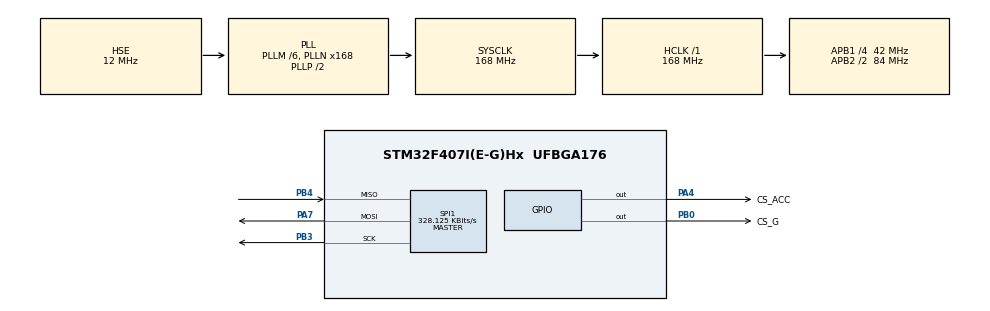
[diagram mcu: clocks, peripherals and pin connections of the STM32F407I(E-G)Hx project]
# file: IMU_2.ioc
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Mcu.Family=STM32F4
Mcu.Name=STM32F407I(E-G)Hx
Mcu.Package=UFBGA176
NVIC.PriorityGroup=NVIC_PRIORITYGROUP_4
PA13.Mode=Serial_Wire
PA13.Signal=SYS_JTMS-SWDIO
PA14.Mode=Serial_Wire
PA14.Signal=SYS_JTCK-SWCLK
PA4.GPIO_Label=CS_ACC
PA4.Signal=GPIO_Output
PA7.Mode=Full_Duplex_Master
PA7.Signal=SPI1_MOSI
PB0.GPIO_Label=CS_G
PB0.Signal=GPIO_Output
PB3.Mode=Full_Duplex_Master
PB3.Signal=SPI1_SCK
PB4.Mode=Full_Duplex_Master
PB4.Signal=SPI1_MISO
PH0-OSC_IN.Mode=HSE-External-Oscillator
PH0-OSC_IN.Signal=RCC_OSC_IN
PH1-OSC_OUT.Mode=HSE-External-Oscillator
PH1-OSC_OUT.Signal=RCC_OSC_OUT
ProjectManager.HeapSize=0x200
ProjectManager.StackSize=0x400
ProjectManager.TargetToolchain=MDK-ARM V5.32
RCC.48MHZClocksFreq_Value=84000000
RCC.AHBFreq_Value=168000000
RCC.APB1CLKDivider=RCC_HCLK_DIV4
RCC.APB1Freq_Value=42000000
RCC.APB1TimFreq_Value=84000000
RCC.APB2CLKDivider=RCC_HCLK_DIV2
RCC.APB2Freq_Value=84000000
RCC.APB2TimFreq_Value=168000000
RCC.CortexFreq_Value=168000000
RCC.HCLKFreq_Value=168000000
RCC.HSE_VALUE=12000000
RCC.HSI_VALUE=16000000
RCC.LSE_VALUE=32768
RCC.PLLM=6
RCC.PLLN=168
RCC.PLLSourceVirtual=RCC_PLLSOURCE_HSE
RCC.SYSCLKFreq_VALUE=168000000
RCC.SYSCLKSource=RCC_SYSCLKSOURCE_PLLCLK
RCC.VCOOutputFreq_Value=336000000
SPI1.BaudRatePrescaler=SPI_BAUDRATEPRESCALER_256
SPI1.CLKPhase=SPI_PHASE_2EDGE
SPI1.CLKPolarity=SPI_POLARITY_HIGH
SPI1.CalculateBaudRate=328.125 KBits/s
SPI1.Direction=SPI_DIRECTION_2LINES
SPI1.Mode=SPI_MODE_MASTER
SPI1.VirtualType=VM_MASTER
board=custom

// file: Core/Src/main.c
/* USER CODE BEGIN Header */
/**
  ******************************************************************************
  * @file           : main.c
  * @brief          : Main program body
  ******************************************************************************
  * @attention
  *
  * Copyright (c) 2024 STMicroelectronics.
  * All rights reserved.
  *
  * This software is licensed under terms that can be found in the LICENSE file
  * in the root directory of this software component.
  * If no LICENSE file comes with this software, it is provided AS-IS.
  *
  ******************************************************************************
  */
/* USER CODE END Header */
#include "main.h"
#include "spi.h"
#include "gpio.h"

/* USER CODE BEGIN PD */
uint8_t rt_0;
uint8_t rt_1;
uint8_t rt_data[8];
double Re_angle[8];
double angle_x = 0;
void CS_A_UP()
{
  HAL_GPIO_WritePin(CS_ACC_GPIO_Port, CS_ACC_Pin, GPIO_PIN_SET);
}
void CS_A_DOWN()
{
  HAL_GPIO_WritePin(CS_ACC_GPIO_Port, CS_ACC_Pin, GPIO_PIN_RESET);
}
void CS_G_DOWN()
{
  HAL_GPIO_WritePin(CS_G_GPIO_Port, CS_G_Pin, GPIO_PIN_RESET);
}
void CS_G_UP()
{
  HAL_GPIO_WritePin(CS_G_GPIO_Port, CS_G_Pin, GPIO_PIN_SET);
}

uint8_t Read_Acc(uint8_t add)
{
  CS_A_DOWN();
  CS_G_UP();
  HAL_Delay(1);
  uint8_t add_data = 0x80 | add;
  HAL_SPI_Transmit(&hspi1,&add_data,1,100);
  HAL_SPI_Receive(&hspi1,rt_data,7,100);
  HAL_Delay(1);
  CS_G_DOWN();
  CS_A_UP();
  return rt_data[0];
}
uint8_t Read_Gyro(uint8_t add)
{
  CS_G_DOWN();
  CS_A_UP();

  HAL_Delay(1);
  uint8_t add_data = 0x80 | add;
  HAL_SPI_Transmit(&hspi1,&add_data,1,100);
  HAL_SPI_Receive(&hspi1,rt_data,7,100);
  HAL_Delay(1);

  CS_A_DOWN();
  CS_G_UP();
  return rt_data[0];
}
void Write_Acc(uint8_t add,uint8_t value)
{
  CS_A_DOWN();
  CS_G_UP();
  HAL_Delay(1);
  uint8_t add_data = add;
  HAL_SPI_Transmit(&hspi1,&add_data,1,100);
  HAL_SPI_Transmit(&hspi1,&value,1,100);
  HAL_Delay(1);
  CS_G_DOWN();
  CS_A_UP();
}
void Mapping_Gyro()
{
  int rate_x = rt_data[0] | (rt_data[1]<<8);
  if (rate_x > 32767)
    rate_x = rate_x -32767*2;
  int rate_y = rt_data[2] | (rt_data[3]<<8);
  if (rate_y > 32767)
    rate_y = rate_y -32767*2;
  int rate_z = rt_data[4] | (rt_data[5]<<8);
  if (rate_z > 32767)
    rate_z = rate_z -32767*2;
  angle_x = ((double)rate_x)*(2000.0/32767.0);
  Re_angle[0] = ((double)rate_x)*(2000.0/32767.0);
  Re_angle[1] = ((double)rate_y)*(2000.0/32767.0);
  Re_angle[2] = ((double)rate_z)*(2000.0/32767.0);
}
/* USER CODE END PTD */

/* Private define ------------------------------------------------------------*/
/* USER CODE BEGIN PD */

/* USER CODE END PD */

void SystemClock_Config(void);

int main(void)
{

  /* MCU Configuration--------------------------------------------------------*/

  /* Reset of all peripherals, Initializes the Flash interface and the Systick. */
  HAL_Init();

  /* Configure the system clock */
  SystemClock_Config();

  /* Initialize all configured peripherals */
  MX_GPIO_Init();
  MX_SPI1_Init();

  /* Infinite loop */
  /* USER CODE BEGIN WHILE */

  while (1)
  {
    Read_Gyro(0x02);
    Mapping_Gyro();
    HAL_Delay(100);
    /* USER CODE END WHILE */

  }
}

void SystemClock_Config(void)
{
  RCC_OscInitTypeDef RCC_OscInitStruct = {0};
  RCC_ClkInitTypeDef RCC_ClkInitStruct = {0};

  /** Configure the main internal regulator output voltage
  */
  __HAL_RCC_PWR_CLK_ENABLE();
  __HAL_PWR_VOLTAGESCALING_CONFIG(PWR_REGULATOR_VOLTAGE_SCALE1);

  /** Initializes the RCC Oscillators according to the specified parameters
  * in the RCC_OscInitTypeDef structure.
  */
  RCC_OscInitStruct.OscillatorType = RCC_OSCILLATORTYPE_HSE;
  RCC_OscInitStruct.HSEState = RCC_HSE_ON;
  RCC_OscInitStruct.PLL.PLLState = RCC_PLL_ON;
  RCC_OscInitStruct.PLL.PLLSource = RCC_PLLSOURCE_HSE;
  RCC_OscInitStruct.PLL.PLLM = 6;
  RCC_OscInitStruct.PLL.PLLN = 168;
  RCC_OscInitStruct.PLL.PLLP = RCC_PLLP_DIV2;
  RCC_OscInitStruct.PLL.PLLQ = 4;
  if (HAL_RCC_OscConfig(&RCC_OscInitStruct) != HAL_OK)
  {
    Error_Handler();
  }

  /** Initializes the CPU, AHB and APB buses clocks
  */
  RCC_ClkInitStruct.ClockType = RCC_CLOCKTYPE_HCLK|RCC_CLOCKTYPE_SYSCLK
                              |RCC_CLOCKTYPE_PCLK1|RCC_CLOCKTYPE_PCLK2;
  RCC_ClkInitStruct.SYSCLKSource = RCC_SYSCLKSOURCE_PLLCLK;
  RCC_ClkInitStruct.AHBCLKDivider = RCC_SYSCLK_DIV1;
  RCC_ClkInitStruct.APB1CLKDivider = RCC_HCLK_DIV4;
  RCC_ClkInitStruct.APB2CLKDivider = RCC_HCLK_DIV2;

  if (HAL_RCC_ClockConfig(&RCC_ClkInitStruct, FLASH_LATENCY_5) != HAL_OK)
  {
    Error_Handler();
  }
}

void Error_Handler(void)
{
  __disable_irq();
  while (1)
  {
  }
}
